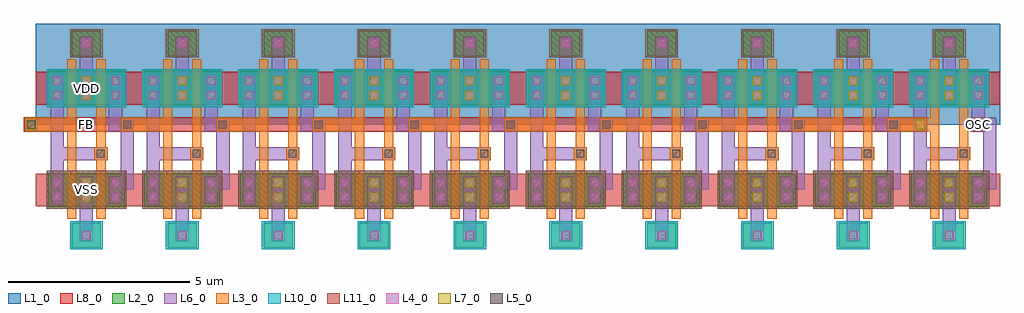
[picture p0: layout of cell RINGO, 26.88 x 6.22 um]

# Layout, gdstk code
import gdstk
lib = gdstk.Library(unit=1e-6, precision=1e-09)
def R(c, l, rs):  # rectangles x0, y0, x1, y1
    for r in rs: c.add(gdstk.rectangle(r[:2], r[2:], *l))
def A(c, l, x, y, w, h, nx, ny, dx, dy):  # array of equal rectangles
    R(c, l, [(x+i*dx, y+j*dy, x+i*dx+w, y+j*dy+h) for i in range(nx) for j in range(ny)])
L1_0 = (1, 0)
L2_0 = (2, 0)
L3_0 = (3, 0)
L4_0 = (4, 0)
L5_0 = (5, 0)
L6_0 = (6, 0)
L7_0 = (7, 0)
L8_0 = (8, 0)
L10_0 = (10, 0)
L11_0 = (11, 0)

trans = lib.new_cell('TRANS')
R(trans, L2_0, [(-0.65,-0.475,0.65,0.475)])
R(trans, L4_0, [(-0.51,-0.31,-0.29,-0.09), (0.29,-0.31,0.51,-0.09), (-0.51,0.09,-0.29,0.31), (0.29,0.09,0.51,0.31)])
R(trans, L6_0, [(-0.58,-0.38,-0.22,0.38), (0.22,-0.38,0.58,0.38)])
trans.add(gdstk.FlexPath([(0,-0.8),(0,0.8)], 0.25, ends="flush", simple_path=True, layer=3, datatype=0))  # L3_0

inv2 = lib.new_cell('INV2')
R(inv2, L1_0, [(-1.4,1.8,1.4,4.58)])
R(inv2, L2_0, [(-0.4,-1.59,0.4,-0.91), (-0.4,3.7,0.4,4.38)])
R(inv2, L3_0, [(-0.525,-0.25,-0.275,2.25), (0.275,-0.25,0.525,2.25), (0.22,0.82,0.58,1.18), (-1.7,1.62,-0.4,1.98)])
R(inv2, L4_0, [(-0.11,-1.36,0.11,-1.14), (-0.11,3.93,0.11,4.15)])
R(inv2, L5_0, [(0.29,0.89,0.51,1.11), (-1.63,1.69,-1.41,1.91)])
R(inv2, L6_0, [(-0.98,-0.42,-0.62,2.42), (-0.8,0.82,0.58,1.18)])
R(inv2, L7_0, [(-0.125,-0.325,0.125,-0.075), (-0.125,0.075,0.125,0.325), (-0.125,2.475,0.125,2.725), (-0.125,2.875,0.125,3.125)])
R(inv2, L8_0, [(-1.4,-0.45,1.4,0.45), (-1.4,2.35,1.4,3.25)])
R(inv2, L10_0, [(-0.45,-1.64,0.45,-0.86), (-1.1,2.275,1.1,3.325)])
R(inv2, L11_0, [(-1.1,-0.525,1.1,0.525), (-0.45,3.65,0.45,4.43)])
inv2.add(gdstk.FlexPath([(0.8,0.2),(1.12,0.2),(1.12,1.8),(0.8,1.8),(0.8,2.42)], 0.36, ends="flush", simple_path=True, layer=6, datatype=0))  # L6_0
inv2.add(gdstk.Reference(trans, (-0.4,0)))
inv2.add(gdstk.Reference(trans, (-0.4,2.8)))
inv2.add(gdstk.Reference(trans, (0.4,0), x_reflection=True))
inv2.add(gdstk.Reference(trans, (0.4,2.8), x_reflection=True))
inv2.add(gdstk.Label('IN', (-0.8,1.8), layer=3, texttype=1))
inv2.add(gdstk.Label('OUT', (0.8,1.8), layer=6, texttype=1))
inv2.add(gdstk.Label('VDD', (1.25,2.8), layer=8, texttype=1))
inv2.add(gdstk.Label('VSS', (1.24,-0.09), layer=8, texttype=1))

inv2pair = lib.new_cell('INV2PAIR')
r = gdstk.Reference(inv2, (1.7,0.8)); r.repetition = gdstk.Repetition(2, 1, v1=(2.64,0), v2=(0,0)); inv2pair.add(r)

ringo = lib.new_cell('RINGO')
A(ringo, L6_0, -0.18, -1.42, 0.36, 1.12, 10, 2, 2.64, 4.52)
R(ringo, L6_0, [(-1.7,1.62,-1.34,1.98)])
R(ringo, L7_0, [(-1.645,1.675,-1.395,1.925), (22.835,1.675,23.085,1.925), (24.435,1.675,24.685,1.925)])
R(ringo, L8_0, [(-1.72,1.6,23.16,2), (24.36,1.6,24.76,2)])
r = gdstk.Reference(inv2pair, (-1.7,-0.8)); r.repetition = gdstk.Repetition(5, 1, v1=(5.28,0), v2=(0,0)); ringo.add(r)
ringo.add(gdstk.Label('OSC', (24.56,1.8), layer=8, texttype=1))
ringo.add(gdstk.Label('FB', (0,1.8), layer=8, texttype=1))
ringo.add(gdstk.Label('VSS', (0,0), layer=8, texttype=1))
ringo.add(gdstk.Label('VDD', (0,2.8), layer=8, texttype=1))

lib.write_gds('RINGO.gds')
